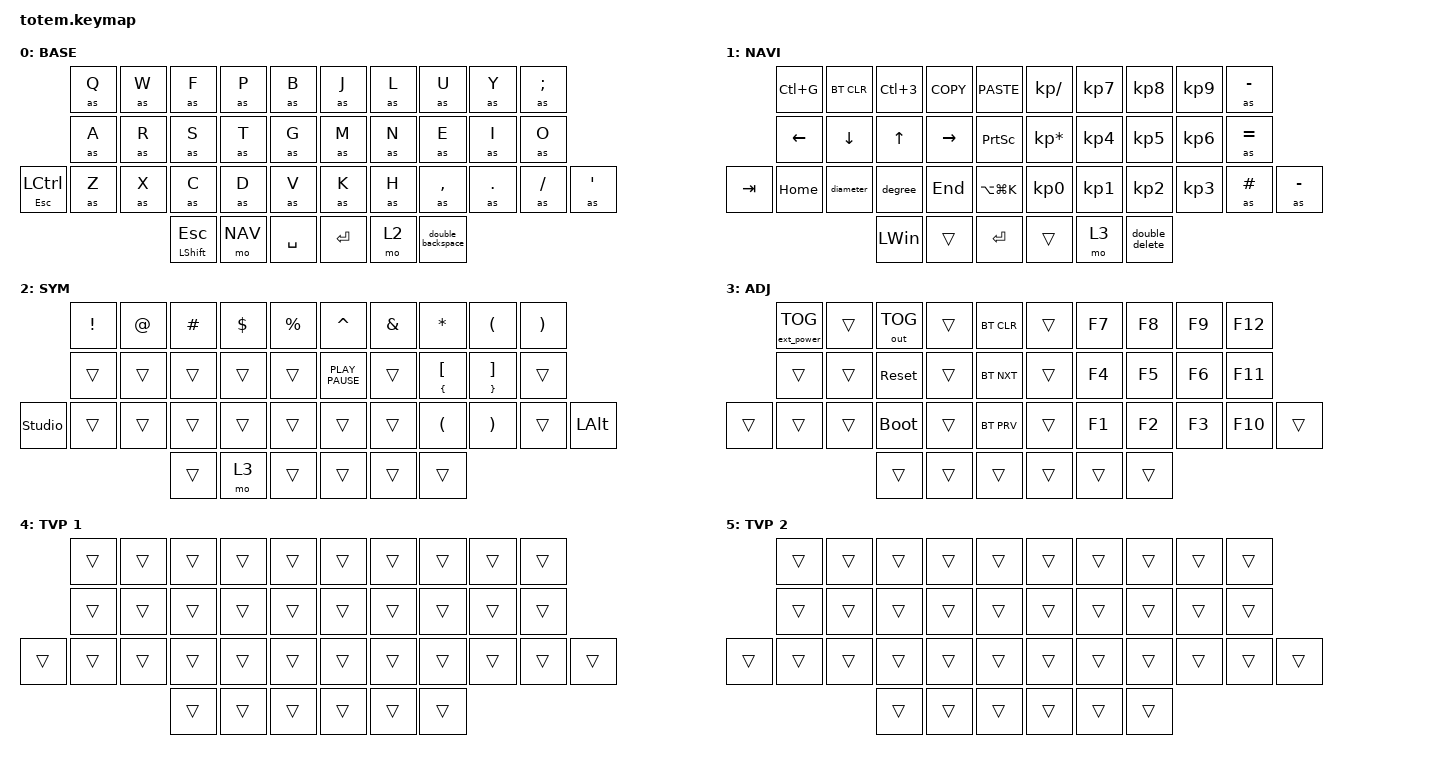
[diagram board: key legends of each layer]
//
//                                                        ▀▀▀▀▀     ▀▀▀▀▀          ▀▀█▀▀
//                                                        ▄▀▀▀▄  ▄  ▄▀▀▀▄  ▄  ▄▀▀▀▄  █  ▄▀▀▀▄
//                                                        █   █  █  █   █  █  █   █  █  █   █
//                                                         ▀▀▀   █   ▀▀▀   █   ▀▀▀   ▀   ▀▀▀
//                                                               █      ▄▄▄█▄▄▄    █   █  
//                                                               ▀      █  █  █     █▄█
//                                                             ▀▀▀▀▀    █  █  █      ▀
//                                                                      ▀  ▀  ▀
//
// ▄▄▄▄▄▄▄▄▄▄▄▄▄▄▄▄▄▄▄▄▄▄▄▄▄▄▄▄▄▄▄▄▄▄▄▄▄▄▄▄▄▄▄▄▄▄▄▄▄▄▄▄▄▄▄▄▄▄▄▄▄▄▄▄▄▄▄▄▄▄▄▄▄▄▄▄▄▄▄▄▄▄▄▄▄▄▄▄▄▄▄▄▄▄▄▄▄▄▄▄▄▄▄▄▄▄▄▄▄▄▄▄▄▄▄▄▄▄▄▄▄▄▄▄▄▄▄▄▄▄▄▄▄▄▄▄▄▄▄▄▄▄▄▄▄▄▄▄▄

#include <behaviors.dtsi>
#include <dt-bindings/zmk/bt.h>
#include <dt-bindings/zmk/ext_power.h>
#include <dt-bindings/zmk/keys.h>
#include <dt-bindings/zmk/outputs.h>

#define BASE 0
#define NAV  1
#define SYM  2
#define ADJ  3
#define TVP1 4
#define TVP2 5

&mt {
    quick-tap-ms = <100>;
    global-quick-tap;
    flavor = "tap-preferred";
    tapping-term-ms = <170>;
};

/ {
    combos {
        compatible = "zmk,combos";

        combo_esc {
            timeout-ms = <50>;
            key-positions = <0 1>;
            bindings = <&kp CAPS>;
        };

        combo_tvp {
            timeout-ms = <100>;
            key-positions = <11 12 13>;
            bindings = <&tog TVP1>;
        };
    };

    macros {
        shift: shift {
            compatible = "zmk,behavior-macro-one-param";
            #binding-cells = <1>;
            bindings =
                <&macro_press>,
                <&kp LEFT_SHIFT>,
                <&macro_tap>,
                <&macro_param_1to1 &kp MACRO_PLACEHOLDER>,
                <&macro_release>,
                <&kp LEFT_SHIFT>;

            label = "SHIFT";
        };

        as: as {
            compatible = "zmk,behavior-macro-one-param";
            #binding-cells = <1>;
            bindings =
                <&macro_press>,
                <&macro_param_1to1 &macro_param_1to2 &as_ht MACRO_PLACEHOLDER MACRO_PLACEHOLDER>,
                <&macro_pause_for_release>,
                <&macro_release>,
                <&macro_param_1to1 &macro_param_1to2 &as_ht MACRO_PLACEHOLDER MACRO_PLACEHOLDER>;

            label = "AS";
        };

        degree: degree {
            compatible = "zmk,behavior-macro";
            #binding-cells = <0>;
            bindings =
                <&macro_press>,
                <&kp LEFT_ALT>,
                <&macro_press>,
                <&kp KP_NUMBER_0 &kp KP_NUMBER_1 &kp KP_NUMBER_7 &kp KP_NUMBER_6>,
                <&macro_release>,
                <&kp LEFT_ALT>;

            label = "DEGREE";
        };

        diameter: diameter {
            compatible = "zmk,behavior-macro";
            #binding-cells = <0>;
            bindings =
                <&macro_press>,
                <&kp LEFT_ALT>,
                <&macro_tap>,
                <&kp KP_NUMBER_0 &kp KP_NUMBER_2 &kp KP_NUMBER_1 &kp KP_NUMBER_6>,
                <&macro_release>,
                <&kp LALT>;

            label = "DIAMETER";
        };
    };

    behaviors {
        as_ht: autoshift_hold_tap {
            compatible = "zmk,behavior-hold-tap";
            label = "AUTOSHIFT_HOLD_TAP";
            bindings = <&shift>, <&kp>;

            #binding-cells = <2>;
            tapping-term-ms = <200>;
            flavor = "tap-preferred";
        };

        double_backspace: double_backspace {
            compatible = "zmk,behavior-tap-dance";
            label = "DOUBLE_BACKSPACE";
            #binding-cells = <0>;
            bindings = <&kp BACKSPACE>, <&kp LC(BACKSPACE)>;

            tapping-term-ms = <200>;
        };

        double_delete: double_delete {
            compatible = "zmk,behavior-tap-dance";
            label = "DOUBLE_DELETE";
            #binding-cells = <0>;
            bindings = <&kp DELETE>, <&kp LC(DELETE)>;

            tapping-term-ms = <200>;
        };
    };

    keymap {
        compatible = "zmk,keymap";

        // ▄▄▄▄▄▄▄▄▄▄▄▄▄▄▄▄▄▄▄▄▄▄▄▄▄▄▄▄▄▄▄▄▄▄▄▄▄▄▄▄▄▄▄▄▄▄▄▄▄▄▄▄▄▄▄▄▄▄▄▄▄▄▄▄▄▄▄▄▄▄▄▄▄▄▄▄▄▄▄▄▄▄▄▄▄▄▄▄▄▄▄▄▄▄▄▄▄▄▄▄▄▄▄▄▄▄▄▄▄▄▄▄▄▄▄▄▄▄▄▄▄▄▄▄▄▄▄▄▄▄▄▄▄▄▄▄▄▄▄▄▄▄▄▄▄▄▄▄▄

        base_layer {
            // ┏━━━━━━━━━━━━━━━━━━━━━━━━━━━━━━━━━━━━━━━┓

            label = "BASE";

            // ┗━━━━━━━━━━━━━━━━━━━━━━━━━━━━━━━━━━━━━━━┛
            //             ┏━━━━━━━━━━━┳━━━━━━━━━━━┳━━━━━━━━━━━┳━━━━━━━━━━━┳━━━━━━━━━━━┓   ┏━━━━━━━━━━━┳━━━━━━━━━━━┳━━━━━━━━━━━┳━━━━━━━━━━━┳━━━━━━━━━━━┓
            //             ┃     Q     ┃     W     ┃     F     ┃     P     ┃     G     ┃   ┃     J     ┃     L     ┃     U     ┃     Y     ┃     ;     ┃
            //             ┣━━━━━━━━━━━╋━━━━━━━━━━━╋━━━━━━━━━━━╋━━━━━━━━━━━╋━━━━━━━━━━━┫   ┣━━━━━━━━━━━╋━━━━━━━━━━━╋━━━━━━━━━━━╋━━━━━━━━━━━╋━━━━━━━━━━━┫
            //             ┃     A     ┃     R     ┃     S     ┃     T     ┃     D     ┃   ┃     H     ┃     N     ┃     E     ┃     I     ┃     O     ┃
            // ┏━━━━━━━━━━━╋━━━━━━━━━━━╋━━━━━━━━━━━╋━━━━━━━━━━━╋━━━━━━━━━━━╋━━━━━━━━━━━┫   ┣━━━━━━━━━━━╋━━━━━━━━━━━╋━━━━━━━━━━━╋━━━━━━━━━━━╋━━━━━━━━━━━╋━━━━━━━━━━━┓
            // ┃     Q     ┃     Z     ┃     X     ┃     C     ┃     V     ┃     B     ┃   ┃     K     ┃     M     ┃     ,     ┃     .     ┃     /     ┃     \     ┃
            // ┗━━━━━━━━━━━┻━━━━━━━━━━━┻━━━━━━━━━━━╋━━━━━━━━━━━╋━━━━━━━━━━━╋━━━━━━━━━━━┫   ┣━━━━━━━━━━━╋━━━━━━━━━━━╋━━━━━━━━━━━╋━━━━━━━━━━━┻━━━━━━━━━━━┻━━━━━━━━━━━┛
            //                                     ┃    DEL    ┃    TAB    ┃    SPC    ┃   ┃   ENTER   ┃           ┃   BSPC    ┃
            //                                     ┗━━━━━━━━━━━┻━━━━━━━━━━━┻━━━━━━━━━━━┛   ┗━━━━━━━━━━━┻━━━━━━━━━━━┻━━━━━━━━━━━┛

            bindings = <
                  &as Q  &as W  &as F                  &as P    &as B        &as J    &as L  &as U              &as Y    &as SEMI
                  &as A  &as R  &as S                  &as T    &as G        &as M    &as N  &as E              &as I    &as O
&mt ESCAPE LCTRL  &as Z  &as X  &as C                  &as D    &as V        &as K    &as H  &as COMMA          &as DOT  &as FSLH  &as SINGLE_QUOTE
                                &mt LEFT_SHIFT ESCAPE  &mo NAV  &kp SPACE    &kp RET  &mo 2  &double_backspace
            >;
        };

        // ▄▄▄▄▄▄▄▄▄▄▄▄▄▄▄▄▄▄▄▄▄▄▄▄▄▄▄▄▄▄▄▄▄▄▄▄▄▄▄▄▄▄▄▄▄▄▄▄▄▄▄▄▄▄▄▄▄▄▄▄▄▄▄▄▄▄▄▄▄▄▄▄▄▄▄▄▄▄▄▄▄▄▄▄▄▄▄▄▄▄▄▄▄▄▄▄▄▄▄▄▄▄▄▄▄▄▄▄▄▄▄▄▄▄▄▄▄▄▄▄▄▄▄▄▄▄▄▄▄▄▄▄▄▄▄▄▄▄▄▄▄▄▄▄▄▄▄▄▄

        nav_layer {
            // ┏━━━━━━━━━━━━━━━━━━━━━━━━━━━━━━━━━━━━━━━┓

            label = "NAVI";

            // ┗━━━━━━━━━━━━━━━━━━━━━━━━━━━━━━━━━━━━━━━┛
            //             ┏━━━━━━━━━━━┳━━━━━━━━━━━┳━━━━━━━━━━━┳━━━━━━━━━━━┳━━━━━━━━━━━┓   ┏━━━━━━━━━━━┳━━━━━━━━━━━┳━━━━━━━━━━━┳━━━━━━━━━━━┳━━━━━━━━━━━┓
            //             ┃           ┃           ┃     UP    ┃           ┃     {     ┃   ┃     }     ┃     7     ┃     8     ┃     9     ┃     +     ┃
            //             ┣━━━━━━━━━━━╋━━━━━━━━━━━╋━━━━━━━━━━━╋━━━━━━━━━━━╋━━━━━━━━━━━┫   ┣━━━━━━━━━━━╋━━━━━━━━━━━╋━━━━━━━━━━━╋━━━━━━━━━━━╋━━━━━━━━━━━┫
            //             ┃   SHIFT   ┃   LEFT    ┃    DOWN   ┃   RIGHT   ┃     [     ┃   ┃     ]     ┃     4     ┃     5     ┃     6     ┃     -     ┃
            // ┏━━━━━━━━━━━╋━━━━━━━━━━━╋━━━━━━━━━━━╋━━━━━━━━━━━╋━━━━━━━━━━━╋━━━━━━━━━━━┫   ┣━━━━━━━━━━━╋━━━━━━━━━━━╋━━━━━━━━━━━╋━━━━━━━━━━━╋━━━━━━━━━━━╋━━━━━━━━━━━┓
            // ┃           ┃           ┃   P UP    ┃  C LOCK   ┃  P DOWN   ┃     (     ┃   ┃     )     ┃     1     ┃     2     ┃     3     ┃     *     ┃           ┃
            // ┗━━━━━━━━━━━┻━━━━━━━━━━━┻━━━━━━━━━━━╋━━━━━━━━━━━╋━━━━━━━━━━━╋━━━━━━━━━━━┫   ┣━━━━━━━━━━━╋━━━━━━━━━━━╋━━━━━━━━━━━╋━━━━━━━━━━━┻━━━━━━━━━━━┻━━━━━━━━━━━┛
            //                                     ┃           ┃    TAB    ┃    SPC    ┃   ┃    DEL    ┃     0     ┃           ┃
            //                                     ┗━━━━━━━━━━━┻━━━━━━━━━━━┻━━━━━━━━━━━┛   ┗━━━━━━━━━━━┻━━━━━━━━━━━┻━━━━━━━━━━━┛

            bindings = <
         &kp LC(G)  &bt BT_CLR      &kp LC(NUMBER_3)  &kp K_COPY  &kp K_PASTE        &kp KP_DIVIDE    &kp KP_N7  &kp KP_N8       &kp KP_N9  &as MINUS
         &kp LEFT   &kp DOWN_ARROW  &kp UP_ARROW      &kp RIGHT   &kp PRINTSCREEN    &kp KP_MULTIPLY  &kp KP_N4  &kp KP_N5       &kp KP_N6  &as EQUAL
&kp TAB  &kp HOME   &diameter       &degree           &kp END     &kp LA(LG(K))      &kp KP_NUMBER_0  &kp KP_N1  &kp KP_N2       &kp KP_N3  &as POUND  &as MINUS
                                    &kp LEFT_WIN      &trans      &kp ENTER          &trans           &mo 3      &double_delete
            >;
        };

        // ▄▄▄▄▄▄▄▄▄▄▄▄▄▄▄▄▄▄▄▄▄▄▄▄▄▄▄▄▄▄▄▄▄▄▄▄▄▄▄▄▄▄▄▄▄▄▄▄▄▄▄▄▄▄▄▄▄▄▄▄▄▄▄▄▄▄▄▄▄▄▄▄▄▄▄▄▄▄▄▄▄▄▄▄▄▄▄▄▄▄▄▄▄▄▄▄▄▄▄▄▄▄▄▄▄▄▄▄▄▄▄▄▄▄▄▄▄▄▄▄▄▄▄▄▄▄▄▄▄▄▄▄▄▄▄▄▄▄▄▄▄▄▄▄▄▄▄▄▄

        sim_layer {
            // ┏━━━━━━━━━━━━━━━━━━━━━━━━━━━━━━━━━━━━━━━┓

            label = "SYM";

            // ┗━━━━━━━━━━━━━━━━━━━━━━━━━━━━━━━━━━━━━━━┛
            //             ┏━━━━━━━━━━━┳━━━━━━━━━━━┳━━━━━━━━━━━┳━━━━━━━━━━━┳━━━━━━━━━━━┓   ┏━━━━━━━━━━━┳━━━━━━━━━━━┳━━━━━━━━━━━┳━━━━━━━━━━━┳━━━━━━━━━━━┓
            //             ┃     !     ┃     @     ┃     #     ┃     $     ┃     %     ┃   ┃     ˆ     ┃     &     ┃     Ü     ┃     '     ┃     "     ┃
            //             ┣━━━━━━━━━━━╋━━━━━━━━━━━╋━━━━━━━━━━━╋━━━━━━━━━━━╋━━━━━━━━━━━┫   ┣━━━━━━━━━━━╋━━━━━━━━━━━╋━━━━━━━━━━━╋━━━━━━━━━━━╋━━━━━━━━━━━┫
            //             ┃     Ä     ┃           ┃    SZ     ┃           ┃           ┃   ┃   MUTE    ┃   YEN     ┃   EURO    ┃  POUND    ┃     Ö     ┃
            // ┏━━━━━━━━━━━╋━━━━━━━━━━━╋━━━━━━━━━━━╋━━━━━━━━━━━╋━━━━━━━━━━━╋━━━━━━━━━━━┫   ┣━━━━━━━━━━━╋━━━━━━━━━━━╋━━━━━━━━━━━╋━━━━━━━━━━━╋━━━━━━━━━━━╋━━━━━━━━━━━┓
            // ┃           ┃  EMAIL1   ┃  EMAIL2   ┃           ┃           ┃           ┃   ┃   VOL-    ┃   VOL+    ┃   LAST    ┃   NEXT    ┃     \     ┃           ┃
            // ┗━━━━━━━━━━━┻━━━━━━━━━━━┻━━━━━━━━━━━╋━━━━━━━━━━━╋━━━━━━━━━━━╋━━━━━━━━━━━┫   ┣━━━━━━━━━━━╋━━━━━━━━━━━╋━━━━━━━━━━━╋━━━━━━━━━━━┻━━━━━━━━━━━┻━━━━━━━━━━━┛
            //                                     ┃           ┃    GIF    ┃    ADJ    ┃   ┃           ┃           ┃           ┃
            //                                     ┗━━━━━━━━━━━┻━━━━━━━━━━━┻━━━━━━━━━━━┛   ┗━━━━━━━━━━━┻━━━━━━━━━━━┻━━━━━━━━━━━┛

            bindings = <
                &kp EXCL  &kp AT  &kp HASH  &kp DLLR  &kp PRCNT    &kp CARET         &kp AMPS  &kp ASTRK                    &kp LEFT_PARENTHESIS           &kp RIGHT_PARENTHESIS
                &trans    &trans  &trans    &trans    &trans       &kp K_PLAY_PAUSE  &trans    &mt LEFT_BRACE LEFT_BRACKET  &mt RIGHT_BRACE RIGHT_BRACKET  &trans
&studio_unlock  &trans    &trans  &trans    &trans    &trans       &trans            &trans    &kp LEFT_PARENTHESIS         &kp RIGHT_PARENTHESIS          &trans                 &kp LEFT_ALT
                                  &trans    &mo 3     &trans       &trans            &trans    &trans
            >;
        };

        // ▄▄▄▄▄▄▄▄▄▄▄▄▄▄▄▄▄▄▄▄▄▄▄▄▄▄▄▄▄▄▄▄▄▄▄▄▄▄▄▄▄▄▄▄▄▄▄▄▄▄▄▄▄▄▄▄▄▄▄▄▄▄▄▄▄▄▄▄▄▄▄▄▄▄▄▄▄▄▄▄▄▄▄▄▄▄▄▄▄▄▄▄▄▄▄▄▄▄▄▄▄▄▄▄▄▄▄▄▄▄▄▄▄▄▄▄▄▄▄▄▄▄▄▄▄▄▄▄▄▄▄▄▄▄▄▄▄▄▄▄▄▄▄▄▄▄▄▄▄

        adjust_layer {
            // ┏━━━━━━━━━━━━━━━━━━━━━━━━━━━━━━━━━━━━━━━┓

            label = "ADJ";

            // ┗━━━━━━━━━━━━━━━━━━━━━━━━━━━━━━━━━━━━━━━┛
            //             ┏━━━━━━━━━━━┳━━━━━━━━━━━┳━━━━━━━━━━━┳━━━━━━━━━━━┳━━━━━━━━━━━┓   ┏━━━━━━━━━━━┳━━━━━━━━━━━┳━━━━━━━━━━━┳━━━━━━━━━━━┳━━━━━━━━━━━┓
            //             ┃   RESET   ┃ BT CLEAR  ┃  OUT TOG  ┃           ┃           ┃   ┃           ┃    F7     ┃    F8     ┃    F9     ┃    F12    ┃
            //             ┣━━━━━━━━━━━╋━━━━━━━━━━━╋━━━━━━━━━━━╋━━━━━━━━━━━╋━━━━━━━━━━━┫   ┣━━━━━━━━━━━╋━━━━━━━━━━━╋━━━━━━━━━━━╋━━━━━━━━━━━╋━━━━━━━━━━━┫
            //             ┃ BOOTLOAD  ┃ BT NEXT   ┃           ┃           ┃           ┃   ┃           ┃    F4     ┃    F5     ┃    F6     ┃    F11    ┃
            // ┏━━━━━━━━━━━╋━━━━━━━━━━━╋━━━━━━━━━━━╋━━━━━━━━━━━╋━━━━━━━━━━━╋━━━━━━━━━━━┫   ┣━━━━━━━━━━━╋━━━━━━━━━━━╋━━━━━━━━━━━╋━━━━━━━━━━━╋━━━━━━━━━━━╋━━━━━━━━━━━┓
            // ┃           ┃           ┃ BT PREV   ┃           ┃           ┃           ┃   ┃           ┃    F1     ┃    F2     ┃    F3     ┃    F10    ┃           ┃
            // ┗━━━━━━━━━━━┻━━━━━━━━━━━┻━━━━━━━━━━━╋━━━━━━━━━━━╋━━━━━━━━━━━╋━━━━━━━━━━━┫   ┣━━━━━━━━━━━╋━━━━━━━━━━━╋━━━━━━━━━━━╋━━━━━━━━━━━┻━━━━━━━━━━━┻━━━━━━━━━━━┛
            //                                     ┃           ┃           ┃           ┃   ┃           ┃           ┃           ┃
            //                                     ┗━━━━━━━━━━━┻━━━━━━━━━━━┻━━━━━━━━━━━┛   ┗━━━━━━━━━━━┻━━━━━━━━━━━┻━━━━━━━━━━━┛

            bindings = <
        &ext_power EP_TOG  &trans  &out OUT_TOG  &trans  &bt BT_CLR    &trans  &kp F7  &kp F8  &kp F9  &kp F12
        &trans             &trans  &sys_reset    &trans  &bt BT_NXT    &trans  &kp F4  &kp F5  &kp F6  &kp F11
&trans  &trans             &trans  &bootloader   &trans  &bt BT_PRV    &trans  &kp F1  &kp F2  &kp F3  &kp F10  &trans
                                   &trans        &trans  &trans        &trans  &trans  &trans
            >;
        };

        // ▄▄▄▄▄▄▄▄▄▄▄▄▄▄▄▄▄▄▄▄▄▄▄▄▄▄▄▄▄▄▄▄▄▄▄▄▄▄▄▄▄▄▄▄▄▄▄▄▄▄▄▄▄▄▄▄▄▄▄▄▄▄▄▄▄▄▄▄▄▄▄▄▄▄▄▄▄▄▄▄▄▄▄▄▄▄▄▄▄▄▄▄▄▄▄▄▄▄▄▄▄▄▄▄▄▄▄▄▄▄▄▄▄▄▄▄▄▄▄▄▄▄▄▄▄▄▄▄▄▄▄▄▄▄▄▄▄▄▄▄▄▄▄▄▄▄▄▄▄

        tvp1_layer {
            // ┏━━━━━━━━━━━━━━━━━━━━━━━━━━━━━━━━━━━━━━━┓

            label = "TVP 1";

            // ┗━━━━━━━━━━━━━━━━━━━━━━━━━━━━━━━━━━━━━━━┛
            //             ┏━━━━━━━━━━━┳━━━━━━━━━━━┳━━━━━━━━━━━┳━━━━━━━━━━━┳━━━━━━━━━━━┓   ┏━━━━━━━━━━━┳━━━━━━━━━━━┳━━━━━━━━━━━┳━━━━━━━━━━━┳━━━━━━━━━━━┓
            //             ┃ NEXT FILE ┃ MARK IN   ┃ ROTATE    ┃ MARK OUT  ┃ SHOW SNAP ┃   ┃           ┃           ┃           ┃           ┃           ┃
            //             ┣━━━━━━━━━━━╋━━━━━━━━━━━╋━━━━━━━━━━━╋━━━━━━━━━━━╋━━━━━━━━━━━┫   ┣━━━━━━━━━━━╋━━━━━━━━━━━╋━━━━━━━━━━━╋━━━━━━━━━━━╋━━━━━━━━━━━┫
            //             ┃ TVP II    ┃ LEFT      ┃ PAN       ┃ RIGHT     ┃ PLAY/FLIP ┃   ┃           ┃           ┃           ┃           ┃           ┃
            // ┏━━━━━━━━━━━╋━━━━━━━━━━━╋━━━━━━━━━━━╋━━━━━━━━━━━╋━━━━━━━━━━━╋━━━━━━━━━━━┫   ┣━━━━━━━━━━━╋━━━━━━━━━━━╋━━━━━━━━━━━╋━━━━━━━━━━━╋━━━━━━━━━━━╋━━━━━━━━━━━┓
            // ┃ FULLSCR   ┃ SHIFT     ┃ COPY      ┃ DELETE    ┃ PASTE     ┃ IMG MARK  ┃   ┃           ┃           ┃           ┃           ┃           ┃           ┃
            // ┗━━━━━━━━━━━┻━━━━━━━━━━━┻━━━━━━━━━━━╋━━━━━━━━━━━╋━━━━━━━━━━━╋━━━━━━━━━━━┫   ┣━━━━━━━━━━━╋━━━━━━━━━━━╋━━━━━━━━━━━╋━━━━━━━━━━━┻━━━━━━━━━━━┻━━━━━━━━━━━┛
            //                                     ┃           ┃ UNDO/SAVE ┃  SEL/MOV  ┃   ┃           ┃           ┃           ┃
            //                                     ┗━━━━━━━━━━━┻━━━━━━━━━━━┻━━━━━━━━━━━┛   ┗━━━━━━━━━━━┻━━━━━━━━━━━┻━━━━━━━━━━━┛

            bindings = <
        &trans  &trans  &trans  &trans  &trans    &trans  &trans  &trans  &trans  &trans
        &trans  &trans  &trans  &trans  &trans    &trans  &trans  &trans  &trans  &trans
&trans  &trans  &trans  &trans  &trans  &trans    &trans  &trans  &trans  &trans  &trans  &trans
                        &trans  &trans  &trans    &trans  &trans  &trans
            >;
        };

        // ▄▄▄▄▄▄▄▄▄▄▄▄▄▄▄▄▄▄▄▄▄▄▄▄▄▄▄▄▄▄▄▄▄▄▄▄▄▄▄▄▄▄▄▄▄▄▄▄▄▄▄▄▄▄▄▄▄▄▄▄▄▄▄▄▄▄▄▄▄▄▄▄▄▄▄▄▄▄▄▄▄▄▄▄▄▄▄▄▄▄▄▄▄▄▄▄▄▄▄▄▄▄▄▄▄▄▄▄▄▄▄▄▄▄▄▄▄▄▄▄▄▄▄▄▄▄▄▄▄▄▄▄▄▄▄▄▄▄▄▄▄▄▄▄▄▄▄▄▄

        tvp2_layer {
            // ┏━━━━━━━━━━━━━━━━━━━━━━━━━━━━━━━━━━━━━━━┓

            label = "TVP 2";

            // ┗━━━━━━━━━━━━━━━━━━━━━━━━━━━━━━━━━━━━━━━┛
            //             ┏━━━━━━━━━━━┳━━━━━━━━━━━┳━━━━━━━━━━━┳━━━━━━━━━━━┳━━━━━━━━━━━┓   ┏━━━━━━━━━━━┳━━━━━━━━━━━┳━━━━━━━━━━━┳━━━━━━━━━━━┳━━━━━━━━━━━┓
            //             ┃ SOLO      ┃ TOGGLE IN ┃ RESET ROT ┃ TOGGLE OUT┃ TAKE SNAP ┃   ┃           ┃           ┃           ┃           ┃           ┃
            //             ┣━━━━━━━━━━━╋━━━━━━━━━━━╋━━━━━━━━━━━╋━━━━━━━━━━━╋━━━━━━━━━━━┫   ┣━━━━━━━━━━━╋━━━━━━━━━━━╋━━━━━━━━━━━╋━━━━━━━━━━━╋━━━━━━━━━━━┫
            //             ┃ ---       ┃ LAST KEY  ┃ NEW KEY   ┃ NEXT KEY  ┃ ENTER     ┃   ┃           ┃           ┃           ┃           ┃           ┃
            // ┏━━━━━━━━━━━╋━━━━━━━━━━━╋━━━━━━━━━━━╋━━━━━━━━━━━╋━━━━━━━━━━━╋━━━━━━━━━━━┫   ┣━━━━━━━━━━━╋━━━━━━━━━━━╋━━━━━━━━━━━╋━━━━━━━━━━━╋━━━━━━━━━━━╋━━━━━━━━━━━┓
            // ┃           ┃ FULLSCR   ┃ CPY2BRUSH ┃ DEL HEAD  ┃ PSTinPLACE┃ BOOK MARK ┃   ┃           ┃           ┃           ┃           ┃           ┃           ┃
            // ┗━━━━━━━━━━━┻━━━━━━━━━━━┻━━━━━━━━━━━╋━━━━━━━━━━━╋━━━━━━━━━━━╋━━━━━━━━━━━┫   ┣━━━━━━━━━━━╋━━━━━━━━━━━╋━━━━━━━━━━━╋━━━━━━━━━━━┻━━━━━━━━━━━┻━━━━━━━━━━━┛
            //                                     ┃           ┃ REDO/SAV1 ┃TRANS/WARP ┃   ┃           ┃           ┃           ┃
            //                                     ┗━━━━━━━━━━━┻━━━━━━━━━━━┻━━━━━━━━━━━┛   ┗━━━━━━━━━━━┻━━━━━━━━━━━┻━━━━━━━━━━━┛

            bindings = <
        &trans  &trans  &trans  &trans  &trans    &trans  &trans  &trans  &trans  &trans
        &trans  &trans  &trans  &trans  &trans    &trans  &trans  &trans  &trans  &trans
&trans  &trans  &trans  &trans  &trans  &trans    &trans  &trans  &trans  &trans  &trans  &trans
                        &trans  &trans  &trans    &trans  &trans  &trans
            >;
        };
    };
};
